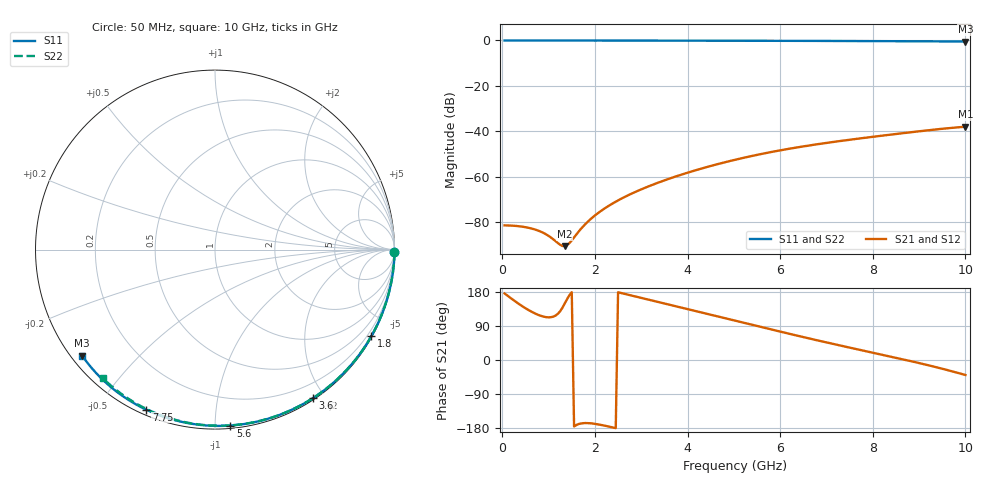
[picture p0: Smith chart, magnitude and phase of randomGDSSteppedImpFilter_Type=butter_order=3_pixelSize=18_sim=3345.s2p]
! freq	dB(S11)	phase(S11)	dB(S12)	phase(S12)
!  dB(S21)	phase(S21)	dB(S22)	phase(S22)
!S-par simulation data
#  GHz  S  DB  R 50
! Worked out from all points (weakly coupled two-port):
!   200 points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, 50 MHz to 10 GHz, reference 50 ohm
!   highest |S21| = -38.02 dB at 10 GHz (marker M1); lowest = -90.7 dB at 1.35 GHz (marker M2)
!   lowest |S11| = -0.5 dB at 10 GHz (marker M3), VSWR 36.79, Z = 1.53 - j17.5 ohm
!   |S11| at or under -10 dB: nowhere
!   |S22| runs from -0.4 to 0.0 dB; largest |S21 - S12| = 0
!   S11 on the Smith chart (normalised r, x): 50 MHz: open; 1.8 GHz: 0.03, -3.88; 3.6 GHz: 0.02, -1.86; 5.6 GHz: 0.02, -1.09; 7.75 GHz: 0.02, -0.66; 10 GHz: 0.03, -0.35
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0.05  -0.00 -0.8  -81.50 175.6  -81.50 175.6  -0.00 -0.8
0.7  -0.01 -11.4  -83.28 123.2  -83.28 123.2  -0.01 -10.6
1.35  -0.03 -21.8  -90.67 149.4  -90.67 149.4  -0.03 -20.2
1.75  -0.04 -28.2  -81.86 -166.7  -81.86 -166.7  -0.03 -26.1
1.8  -0.04 -28.9  -80.80 -166.4  -80.80 -166.4  -0.03 -26.9
1.85  -0.04 -29.7  -79.80 -166.5  -79.80 -166.5  -0.04 -27.6
2.05  -0.04 -32.9  -76.34 -169.4  -76.34 -169.4  -0.04 -30.5
2.25  -0.05 -36.0  -73.49 -174.3  -73.49 -174.3  -0.04 -33.4
2.55  -0.05 -40.6  -69.94 177.2  -69.94 177.2  -0.05 -37.7
2.95  -0.06 -46.7  -66.06 165.4  -66.06 165.4  -0.06 -43.4
3.4  -0.07 -53.5  -62.41 152.1  -62.41 152.1  -0.07 -49.8
3.6  -0.08 -56.5  -60.95 146.2  -60.95 146.2  -0.07 -52.5
4.3  -0.09 -66.7  -56.46 125.6  -56.46 125.6  -0.09 -62.1
5.05  -0.12 -77.4  -52.47 103.3  -52.47 103.3  -0.11 -72.0
5.6  -0.14 -85.0  -50.01 86.8  -50.01 86.8  -0.13 -79.1
6.15  -0.16 -92.4  -47.89 70.6  -47.89 70.6  -0.15 -86.1
6.7  -0.19 -99.7  -46.06 54.8  -46.06 54.8  -0.18 -92.8
7.2  -0.22 -106.2  -44.59 40.9  -44.59 40.9  -0.21 -98.9
7.75  -0.26 -113.2  -43.11 26.0  -43.11 26.0  -0.24 -105.4
8.35  -0.30 -120.8  -41.59 10.0  -41.59 10.0  -0.29 -112.4
9.2  -0.38 -131.5  -39.58 -13.9  -39.58 -13.9  -0.36 -122.1
10  -0.47 -141.4  -38.02 -39.5  -38.02 -39.5  -0.44 -131.1
